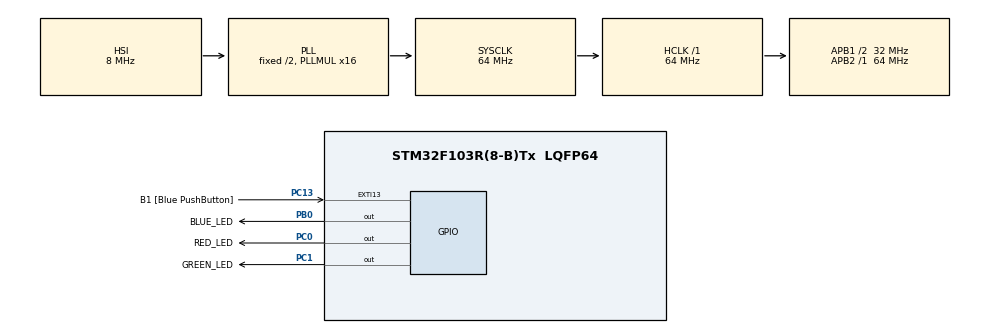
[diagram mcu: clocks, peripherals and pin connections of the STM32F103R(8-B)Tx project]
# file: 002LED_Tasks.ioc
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Mcu.Family=STM32F1
Mcu.Name=STM32F103R(8-B)Tx
Mcu.Package=LQFP64
NVIC.EXTI15_10_IRQn=true\:0\:0\:false\:false\:true\:true\:true\:true
NVIC.PriorityGroup=NVIC_PRIORITYGROUP_4
NVIC.TIM4_IRQn=true\:15\:0\:false\:false\:true\:false\:true\:true
NVIC.TimeBase=TIM4_IRQn
NVIC.TimeBaseIP=TIM4
PA13.GPIO_Label=TMS
PA13.Mode=Serial_Wire
PA13.Signal=SYS_JTMS-SWDIO
PA14.GPIO_Label=TCK
PA14.Mode=Serial_Wire
PA14.Signal=SYS_JTCK-SWCLK
PA2.GPIO_Label=USART_TX
PA2.GPIO_Mode=GPIO_MODE_AF_PP
PA2.GPIO_PuPd=GPIO_NOPULL
PA2.GPIO_Speed=GPIO_SPEED_FREQ_LOW
PA2.Signal=USART2_TX
PA3.GPIO_Label=USART_RX
PA3.GPIO_Mode=GPIO_MODE_AF_PP
PA3.GPIO_PuPd=GPIO_NOPULL
PA3.GPIO_Speed=GPIO_SPEED_FREQ_LOW
PA3.Signal=USART2_RX
PB0.GPIO_Label=BLUE_LED
PB0.Signal=GPIO_Output
PB3.GPIO_Label=SWO
PB3.Signal=SYS_JTDO-TRACESWO
PC0.GPIO_Label=RED_LED
PC0.Signal=GPIO_Output
PC1.GPIO_Label=GREEN_LED
PC1.Signal=GPIO_Output
PC13-TAMPER-RTC.GPIO_Label=B1 [Blue PushButton]
PC13-TAMPER-RTC.GPIO_ModeDefaultEXTI=GPIO_MODE_IT_FALLING
PC13-TAMPER-RTC.GPIO_PuPd=GPIO_NOPULL
PC13-TAMPER-RTC.Signal=GPXTI13
PC14-OSC32_IN.Signal=RCC_OSC32_IN
PC15-OSC32_OUT.Signal=RCC_OSC32_OUT
PD0-OSC_IN.Signal=RCC_OSC_IN
PD1-OSC_OUT.Signal=RCC_OSC_OUT
ProjectManager.HeapSize=0x200
ProjectManager.StackSize=0x400
ProjectManager.TargetToolchain=STM32CubeIDE
RCC.AHBFreq_Value=64000000
RCC.APB1CLKDivider=RCC_HCLK_DIV2
RCC.APB1Freq_Value=32000000
RCC.APB1TimFreq_Value=64000000
RCC.APB2Freq_Value=64000000
RCC.APB2TimFreq_Value=64000000
RCC.HCLKFreq_Value=64000000
RCC.PLLMUL=RCC_PLL_MUL16
RCC.SYSCLKFreq_VALUE=64000000
RCC.SYSCLKSource=RCC_SYSCLKSOURCE_PLLCLK
RCC.USBFreq_Value=64000000
VP_SYS_VS_tim4.Mode=TIM4
board=NUCLEO-F103RB

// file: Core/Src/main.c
/* USER CODE BEGIN Header */
/**
  ******************************************************************************
  * @file           : main.c
  * @brief          : Main program body
  ******************************************************************************
  * @attention
  *
  * Copyright (c) 2025 STMicroelectronics.
  * All rights reserved.
  *
  * This software is licensed under terms that can be found in the LICENSE file
  * in the root directory of this software component.
  * If no LICENSE file comes with this software, it is provided AS-IS.
  *
  ******************************************************************************
  */
/* USER CODE END Header */
#include "main.h"

/* USER CODE BEGIN Includes */
#include "FreeRTOS.h"
#include "task.h"
/* USER CODE END Includes */

/* USER CODE BEGIN PV */
#define DWT_CTRL	(*(volatile uint32_t*) 0xE0001000)
/* USER CODE END PV */

void SystemClock_Config(void);
static void MX_GPIO_Init(void);
/* USER CODE BEGIN PFP */
static void led_red_handler(void* parameters);
static void led_green_handler(void* parameters);
static void led_blue_handler(void* parameters);
/* USER CODE END PFP */

int main(void)
{

  /* USER CODE BEGIN 1 */
  TaskHandle_t task1_handle;
  TaskHandle_t task2_handle;
  TaskHandle_t task3_handle;

  BaseType_t status;
  /* USER CODE END 1 */

  /* MCU Configuration--------------------------------------------------------*/

  /* Reset of all peripherals, Initializes the Flash interface and the Systick. */
  HAL_Init();

  /* Configure the system clock */
  SystemClock_Config();

  /* Initialize all configured peripherals */
  MX_GPIO_Init();
  /* USER CODE BEGIN 2 */

  //Enable the CYCCNT counter.
  DWT_CTRL |= (1 << 0);

  SEGGER_SYSVIEW_Conf();

  SEGGER_SYSVIEW_Start();

  HAL_NVIC_SetPriorityGrouping(NVIC_PRIORITYGROUP_4);
  HAL_NVIC_SetPriority(PendSV_IRQn,  15, 0);
  HAL_NVIC_SetPriority(SysTick_IRQn, 15, 0);

  status = xTaskCreate(led_red_handler, "LED_RED_task", 200, NULL, 2, &task1_handle);

  configASSERT(status == pdPASS);

  status = xTaskCreate(led_green_handler, "LED_GREEN_task", 200, NULL, 2, &task2_handle);

  configASSERT(status == pdPASS);
//
  status = xTaskCreate(led_blue_handler, "LED_BLUE_task", 200, NULL, 2, &task3_handle);

  configASSERT(status == pdPASS);

  vTaskStartScheduler();
  /* USER CODE END 2 */

  /* Infinite loop */
  while (1)
  {

  }
}

void SystemClock_Config(void)
{
  RCC_OscInitTypeDef RCC_OscInitStruct = {0};
  RCC_ClkInitTypeDef RCC_ClkInitStruct = {0};

  /** Initializes the RCC Oscillators according to the specified parameters
  * in the RCC_OscInitTypeDef structure.
  */
  RCC_OscInitStruct.OscillatorType = RCC_OSCILLATORTYPE_HSI;
  RCC_OscInitStruct.HSIState = RCC_HSI_ON;
  RCC_OscInitStruct.HSICalibrationValue = RCC_HSICALIBRATION_DEFAULT;
  RCC_OscInitStruct.PLL.PLLState = RCC_PLL_ON;
  RCC_OscInitStruct.PLL.PLLSource = RCC_PLLSOURCE_HSI_DIV2;
  RCC_OscInitStruct.PLL.PLLMUL = RCC_PLL_MUL16;
  if (HAL_RCC_OscConfig(&RCC_OscInitStruct) != HAL_OK)
  {
    Error_Handler();
  }

  /** Initializes the CPU, AHB and APB buses clocks
  */
  RCC_ClkInitStruct.ClockType = RCC_CLOCKTYPE_HCLK|RCC_CLOCKTYPE_SYSCLK
                              |RCC_CLOCKTYPE_PCLK1|RCC_CLOCKTYPE_PCLK2;
  RCC_ClkInitStruct.SYSCLKSource = RCC_SYSCLKSOURCE_PLLCLK;
  RCC_ClkInitStruct.AHBCLKDivider = RCC_SYSCLK_DIV1;
  RCC_ClkInitStruct.APB1CLKDivider = RCC_HCLK_DIV2;
  RCC_ClkInitStruct.APB2CLKDivider = RCC_HCLK_DIV1;

  if (HAL_RCC_ClockConfig(&RCC_ClkInitStruct, FLASH_LATENCY_2) != HAL_OK)
  {
    Error_Handler();
  }
}

static void MX_GPIO_Init(void)
{
  GPIO_InitTypeDef GPIO_InitStruct = {0};

  /* GPIO Ports Clock Enable */
  __HAL_RCC_GPIOC_CLK_ENABLE();
  __HAL_RCC_GPIOD_CLK_ENABLE();
  __HAL_RCC_GPIOA_CLK_ENABLE();
  __HAL_RCC_GPIOB_CLK_ENABLE();

  /*Configure GPIO pin Output Level */
  HAL_GPIO_WritePin(GPIOC, RED_LED_Pin|GREEN_LED_Pin, GPIO_PIN_RESET);

  /*Configure GPIO pin Output Level */
  HAL_GPIO_WritePin(BLUE_LED_GPIO_Port, BLUE_LED_Pin, GPIO_PIN_RESET);

  /*Configure GPIO pin : B1_Pin */
  GPIO_InitStruct.Pin = B1_Pin;
  GPIO_InitStruct.Mode = GPIO_MODE_IT_FALLING;
  GPIO_InitStruct.Pull = GPIO_NOPULL;
  HAL_GPIO_Init(B1_GPIO_Port, &GPIO_InitStruct);

  /*Configure GPIO pins : RED_LED_Pin GREEN_LED_Pin */
  GPIO_InitStruct.Pin = RED_LED_Pin|GREEN_LED_Pin;
  GPIO_InitStruct.Mode = GPIO_MODE_OUTPUT_PP;
  GPIO_InitStruct.Pull = GPIO_NOPULL;
  GPIO_InitStruct.Speed = GPIO_SPEED_FREQ_LOW;
  HAL_GPIO_Init(GPIOC, &GPIO_InitStruct);

  /*Configure GPIO pins : USART_TX_Pin USART_RX_Pin */
  GPIO_InitStruct.Pin = USART_TX_Pin|USART_RX_Pin;
  GPIO_InitStruct.Mode = GPIO_MODE_AF_PP;
  GPIO_InitStruct.Speed = GPIO_SPEED_FREQ_LOW;
  HAL_GPIO_Init(GPIOA, &GPIO_InitStruct);

  /*Configure GPIO pin : BLUE_LED_Pin */
  GPIO_InitStruct.Pin = BLUE_LED_Pin;
  GPIO_InitStruct.Mode = GPIO_MODE_OUTPUT_PP;
  GPIO_InitStruct.Pull = GPIO_NOPULL;
  GPIO_InitStruct.Speed = GPIO_SPEED_FREQ_LOW;
  HAL_GPIO_Init(BLUE_LED_GPIO_Port, &GPIO_InitStruct);

  /* EXTI interrupt init*/
  HAL_NVIC_SetPriority(EXTI15_10_IRQn, 0, 0);
  HAL_NVIC_EnableIRQ(EXTI15_10_IRQn);

}

/* USER CODE BEGIN 4 */
static void led_red_handler(void* parameters)
{
	while(1)
	{
		HAL_GPIO_TogglePin(RED_LED_GPIO_Port, RED_LED_Pin);
		HAL_Delay(400);
	}
}

static void led_green_handler(void* parameters)
{
	while(1)
	{
		HAL_GPIO_TogglePin(GREEN_LED_GPIO_Port, GREEN_LED_Pin);
		HAL_Delay(800);
	}
}

static void led_blue_handler(void* parameters)
{
	while(1)
	{
		HAL_GPIO_TogglePin(BLUE_LED_GPIO_Port, BLUE_LED_Pin);
		HAL_Delay(1000);
	}
}
/* USER CODE END 4 */

void HAL_TIM_PeriodElapsedCallback(TIM_HandleTypeDef *htim)
{
  if (htim->Instance == TIM4)
  {
    HAL_IncTick();
  }
}

void Error_Handler(void)
{
  __disable_irq();
  while (1)
  {
  }
}
